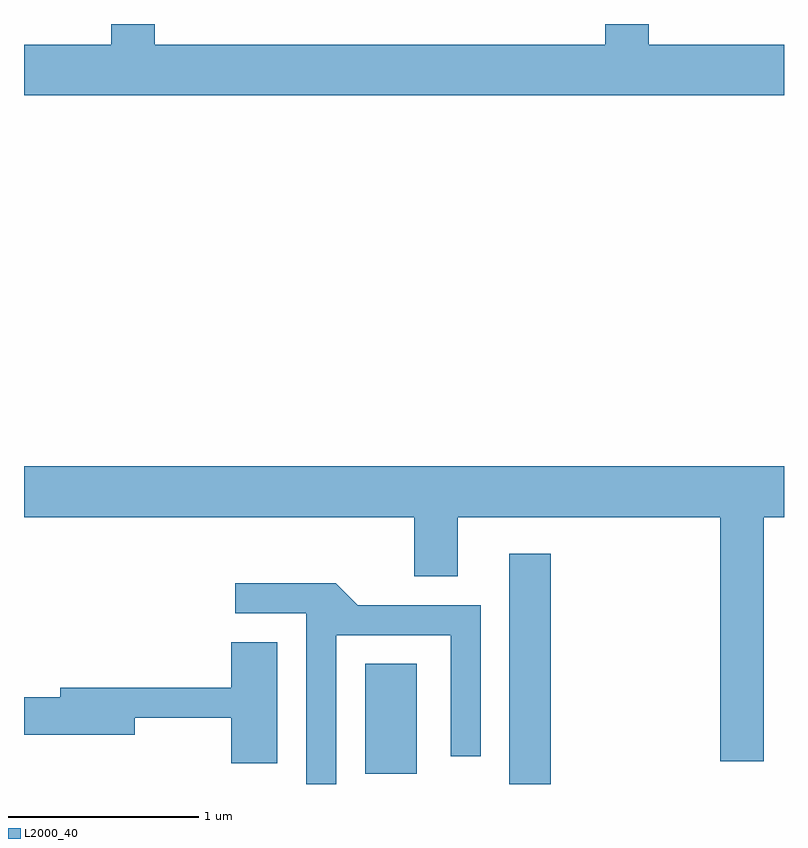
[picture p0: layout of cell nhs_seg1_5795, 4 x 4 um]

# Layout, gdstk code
import gdstk
lib = gdstk.Library(unit=1e-6, precision=1e-09)
def R(c, l, rs):  # rectangles x0, y0, x1, y1
    for r in rs: c.add(gdstk.rectangle(r[:2], r[2:], *l))
def P(c, l, *ps):  # polygons
    for p in ps: c.add(gdstk.Polygon(p, *l))
L2000_40 = (2000, 40)

nhs_seg1_5795 = lib.new_cell('nhs_seg1_5795')
R(nhs_seg1_5795, L2000_40, [(362.166,913.712,362.384,914.924), (361.406,913.766,361.679,914.344)])
P(nhs_seg1_5795, L2000_40, [(363.611,917.604),(362.899,917.604),(362.899,917.712),(362.671,917.712),(362.671,917.604),(360.299,917.604),(360.299,917.712),(360.071,917.712),(360.071,917.604),(359.611,917.604),(359.611,917.336),(363.611,917.336)],
  [(363.504,915.116),(363.611,915.116),(363.611,915.384),(359.611,915.384),(359.611,915.116),(361.666,915.116),(361.666,914.806),(361.894,914.806),(361.894,915.116),(363.276,915.116),(363.276,913.831),(363.504,913.831)],
  [(361.254,914.496),(361.856,914.496),(361.856,913.858),(362.014,913.858),(362.014,914.654),(361.367,914.654),(361.252,914.769),(360.723,914.769),(360.723,914.611),(361.096,914.611),(361.096,913.712),(361.254,913.712)],
  [(360.944,914.459),(360.701,914.459),(360.701,914.219),(359.801,914.219),(359.801,914.169),(359.611,914.169),(359.611,913.971),(360.194,913.971),(360.194,914.061),(360.701,914.061),(360.701,913.821),(360.944,913.821)])

lib.write_gds('nhs_seg1_5795.gds')
